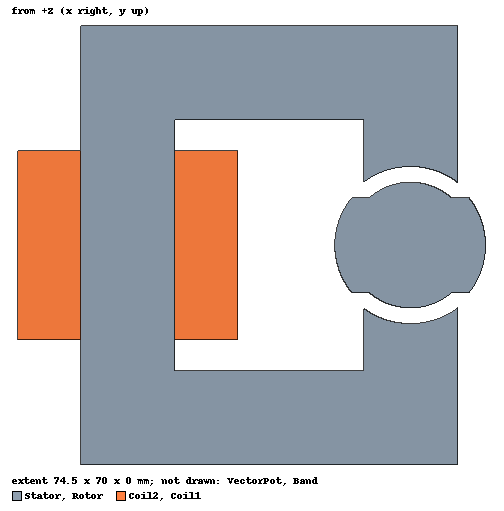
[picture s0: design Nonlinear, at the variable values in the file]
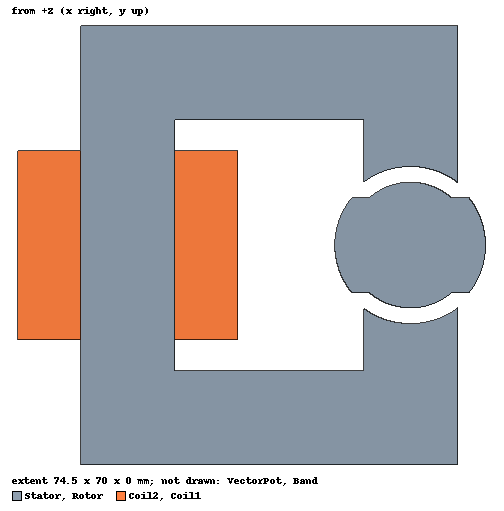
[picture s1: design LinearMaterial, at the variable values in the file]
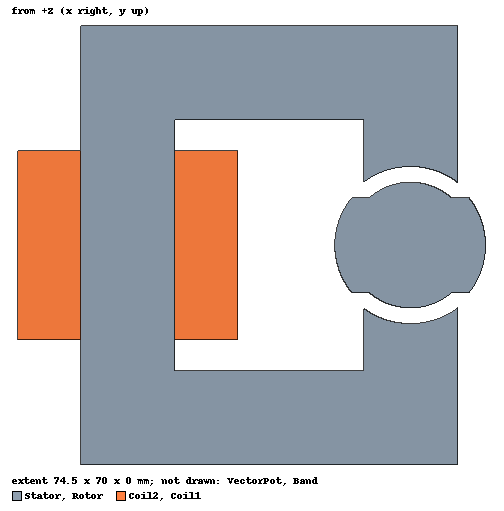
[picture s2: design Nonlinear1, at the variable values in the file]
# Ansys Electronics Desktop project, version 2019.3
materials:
  vacuum: permittivity=1
  copper: permeability=0.999991 conductivity=58000000
  m270-35a: permeability{HUnit=A_per_meter BUnit=tesla curve (0, 0) (30, 0.1) (39.6, 0.2) (46, 0.3) (52, 0.4) (58.2, 0.5) (65.2, 0.6) (73.3, 0.7) (83.1, 0.8) (95.5, 0.9) (112, 1) (136, 1.1) (178, 1.2) (272, 1.3) (596, 1.4) (1700, 1.5) (3880, 1.6) (7160, 1.7) (11600, 1.8)} conductivity=1/52*1e8
  m270-35a-lin: permeability=5000 conductivity=1/52*1e8

design Nonlinear (Maxwell 2D, Transient, XY geometry, model units mm)
options: ComputeTransientInductance ModelDepth=20mm Multiplier=1
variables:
  t_stop = 3s
  t_step = t_stop/600
  angle = 90deg
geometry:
  Stator [m270-35a] = rectangle(corner=(0mm, 0mm, 0mm), x_size=60mm, y_size=70mm)
  Rectangle2 = rectangle(corner=(15mm, 15mm, 0mm), x_size=30mm, y_size=40mm)
  Stator.subtract(Rectangle2)
  point Point1 = (52.5mm, 35mm, 0mm)
  Circle1 = circle(normal=Z, centre=(52.5mm, 35mm, 0mm), radius=12.5mm)
  Stator.subtract(Circle1)
  Circle2 = circle(normal=Z, centre=(52.5mm, 35mm, 0mm), radius=12mm)
  Rectangle3 = rectangle(corner=(45mm, 50mm, 0mm), x_size=15mm, y_size=-31.25mm)
  Circle2.intersect(Rectangle3)
  Rotor [m270-35a] = circle(normal=Z, centre=(52.5mm, 35mm, 0mm), radius=10mm)
  Rotor.unite(Circle2)
  Coil1 [copper] = rectangle(corner=(0mm, 20mm, 0mm), x_size=-10mm, y_size=30mm)
  Coil2 [copper] = Coil1.duplicate_mirror(point=(0mm, 20mm, 0mm), normal=(1mm, 0mm, 0mm))
  Coil2.move(15mm, 0mm, 0mm)
  VectorPot [vacuum] = circle(normal=Z, centre=(30mm, 35mm, 0mm), radius=67.082039mm)
  coordinate_system RelativeCS1 = origin=(52.5mm, 35mm, 0mm) x=(1mm, 0mm, 0mm) y=(0mm, 1mm, 0mm)
  Rotor.rotate(axis=Z, angle=angle) in RelativeCS1
  Band [vacuum] = circle(normal=Z, centre=(0mm, 0mm, 0mm), radius=12.206556mm) in RelativeCS1
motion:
  MotionSetup1: Band Move_Type=Rotate Coordinate_System=RelativeCS1 Axis=Z Is_Positive=true InitPos=angle-45deg Angular_Velocity=0rpm Moment_of_Inertia=0.0001 Damping=0 Load_Torque=0NewtonMeter Objects=Band
  Moving1: Moving Objects=Rotor
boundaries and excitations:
  VectorPotential1: Vector Potential Edges=VectorPot.edge(1 of 1) Value=0
  Rectangle4: Coil Objects=Coil1 Conductor_number=250 Winding=Winding1 PolarityType=Positive
  Rectangle4_1: Coil Objects=Coil2 Conductor_number=250 Winding=Winding1 PolarityType=Negative
  Winding1: Winding Group Type=Current IsSolid=false Current=3A ParallelBranchesNum=1
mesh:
  Length1: LengthBased Objects=[Coil1, Coil2, Rotor, Stator] MaxLength=3mm
  SurfApprox1: SurfApproxBased Objects=[Coil1, Stator, Coil2, Rotor] CurvedSurfaceApproxChoice=UseSlider SliderMeshSettings=9
  initial mesh: MeshMethod=AnsoftTAU
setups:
  Setup1: Transient NonlinearSolverResidual=1e-07 StopTime=t_stop TimeStep=t_step SaveFieldsType="Every N Steps" N_Steps=1 Steps_From=0s Steps_To=t_stop NumberSolveSteps=1 RangeStart=0s RangeEnd=0.1s InitialTimeStep=0.002s MinTimeStep=0.001s MaxTimeStep=0.003s TimeStepErrTolerance=0.0001
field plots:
  Mesh1: MeshPlots over Stator, Rotor, Coil1, Coil2, VectorPot on Setup1 : Transient at Time=55000000ns
  Mag_B1: B over Stator, Rotor, Coil1, Coil2, VectorPot on Setup1 : Transient at Time=55000000ns
  B_Vector1: B over Stator, Rotor, Coil1, Coil2, VectorPot on Setup1 : Transient at Time=140000000ns
  Flux_Lines1: A over Stator, Rotor, Coil1, Coil2, VectorPot, Band on Setup1 : Transient at Time=140000000ns
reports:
  Torque Plot 1: Moving1.Torque vs Time on Setup1 : Transient [t_stop=all]
  Winding Plot 1: L(Winding1,Winding1) vs Time on Setup1 : Transient
  Speed Plot 1: Moving1.Speed vs Time on Setup1 : Transient

design LinearMaterial (Maxwell 2D, Transient, XY geometry, model units mm)
options: ComputeTransientInductance ModelDepth=20mm Multiplier=1
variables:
  t_stop = 3s
  t_step = t_stop/600
  angle = 90deg
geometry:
  Stator [m270-35a-lin] = rectangle(corner=(0mm, 0mm, 0mm), x_size=60mm, y_size=70mm)
  Rectangle2 = rectangle(corner=(15mm, 15mm, 0mm), x_size=30mm, y_size=40mm)
  Stator.subtract(Rectangle2)
  point Point1 = (52.5mm, 35mm, 0mm)
  Circle1 = circle(normal=Z, centre=(52.5mm, 35mm, 0mm), radius=12.5mm)
  Stator.subtract(Circle1)
  Circle2 = circle(normal=Z, centre=(52.5mm, 35mm, 0mm), radius=12mm)
  Rectangle3 = rectangle(corner=(45mm, 50mm, 0mm), x_size=15mm, y_size=-31.25mm)
  Circle2.intersect(Rectangle3)
  Rotor [m270-35a-lin] = circle(normal=Z, centre=(52.5mm, 35mm, 0mm), radius=10mm)
  Rotor.unite(Circle2)
  Coil1 [copper] = rectangle(corner=(0mm, 20mm, 0mm), x_size=-10mm, y_size=30mm)
  Coil2 [copper] = Coil1.duplicate_mirror(point=(0mm, 20mm, 0mm), normal=(1mm, 0mm, 0mm))
  Coil2.move(15mm, 0mm, 0mm)
  VectorPot [vacuum] = circle(normal=Z, centre=(30mm, 35mm, 0mm), radius=67.082039mm)
  coordinate_system RelativeCS1 = origin=(52.5mm, 35mm, 0mm) x=(1mm, 0mm, 0mm) y=(0mm, 1mm, 0mm)
  Rotor.rotate(axis=Z, angle=angle) in RelativeCS1
  Band [vacuum] = circle(normal=Z, centre=(0mm, 0mm, 0mm), radius=12.206556mm) in RelativeCS1
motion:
  MotionSetup1: Band Move_Type=Rotate Coordinate_System=RelativeCS1 Axis=Z Is_Positive=true InitPos=angle-45deg Angular_Velocity=0rpm Moment_of_Inertia=0.0001 Damping=0 Load_Torque=0NewtonMeter Objects=Band
  Moving1: Moving Objects=Rotor
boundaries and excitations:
  VectorPotential1: Vector Potential Edges=VectorPot.edge(1 of 1) Value=0
  Rectangle4: Coil Objects=Coil1 Conductor_number=250 Winding=Winding1 PolarityType=Positive
  Rectangle4_1: Coil Objects=Coil2 Conductor_number=250 Winding=Winding1 PolarityType=Negative
  Winding1: Winding Group Type=Current IsSolid=false Current=3A ParallelBranchesNum=1
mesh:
  Length1: LengthBased Objects=[Coil1, Coil2, Rotor, Stator] MaxLength=3mm
  SurfApprox1: SurfApproxBased Objects=[Coil1, Stator, Coil2, Rotor] CurvedSurfaceApproxChoice=UseSlider SliderMeshSettings=9
  initial mesh: MeshMethod=AnsoftTAU
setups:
  Setup1: Transient NonlinearSolverResidual=1e-07 StopTime=t_stop TimeStep=t_step SaveFieldsType="Every N Steps" N_Steps=1 Steps_From=0s Steps_To=t_stop NumberSolveSteps=1 RangeStart=0s RangeEnd=0.1s InitialTimeStep=0.002s MinTimeStep=0.001s MaxTimeStep=0.003s TimeStepErrTolerance=0.0001
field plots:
  Mesh1: MeshPlots over Stator, Rotor, Coil1, Coil2, VectorPot on Setup1 : Transient at Time=-1
  Mag_B1: B over Stator, Rotor, Coil1, Coil2, VectorPot, Band on Setup1 : Transient at Time=0.045s
  B_Vector1: B over Stator, Rotor, Coil1, Coil2, VectorPot on Setup1 : Transient at Time=-1
  Flux_Lines1: A over Stator, Rotor, Coil1, Coil2, VectorPot, Band on Setup1 : Transient at Time=-1
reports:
  Torque Plot 1: Moving1.Torque vs Time on Setup1 : Transient [t_stop=all]
  Winding Plot 1: L(Winding1,Winding1) vs Time on Setup1 : Transient
  Speed Plot 1: Moving1.Speed vs Time on Setup1 : Transient

design Nonlinear1 (Maxwell 2D, Transient, XY geometry, model units mm)
options: ComputeTransientInductance ModelDepth=20mm Multiplier=1
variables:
  t_stop = 3s
  t_step = t_stop/600
  angle = 90deg
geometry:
  Stator [m270-35a] = rectangle(corner=(0mm, 0mm, 0mm), x_size=60mm, y_size=70mm)
  Rectangle2 = rectangle(corner=(15mm, 15mm, 0mm), x_size=30mm, y_size=40mm)
  Stator.subtract(Rectangle2)
  point Point1 = (52.5mm, 35mm, 0mm)
  Circle1 = circle(normal=Z, centre=(52.5mm, 35mm, 0mm), radius=12.5mm)
  Stator.subtract(Circle1)
  Circle2 = circle(normal=Z, centre=(52.5mm, 35mm, 0mm), radius=12mm)
  Rectangle3 = rectangle(corner=(45mm, 50mm, 0mm), x_size=15mm, y_size=-31.25mm)
  Circle2.intersect(Rectangle3)
  Rotor [m270-35a] = circle(normal=Z, centre=(52.5mm, 35mm, 0mm), radius=10mm)
  Rotor.unite(Circle2)
  Coil1 [copper] = rectangle(corner=(0mm, 20mm, 0mm), x_size=-10mm, y_size=30mm)
  Coil2 [copper] = Coil1.duplicate_mirror(point=(0mm, 20mm, 0mm), normal=(1mm, 0mm, 0mm))
  Coil2.move(15mm, 0mm, 0mm)
  VectorPot [vacuum] = circle(normal=Z, centre=(30mm, 35mm, 0mm), radius=67.082039mm)
  coordinate_system RelativeCS1 = origin=(52.5mm, 35mm, 0mm) x=(1mm, 0mm, 0mm) y=(0mm, 1mm, 0mm)
  Rotor.rotate(axis=Z, angle=angle) in RelativeCS1
  Band [vacuum] = circle(normal=Z, centre=(0mm, 0mm, 0mm), radius=12.206556mm) in RelativeCS1
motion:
  MotionSetup1: Band Move_Type=Rotate Coordinate_System=RelativeCS1 Axis=Z Is_Positive=true InitPos=angle-45deg Angular_Velocity=0rpm Moment_of_Inertia=0.0001 Damping=0 Load_Torque=0NewtonMeter Objects=Band
  Moving1: Moving Objects=Rotor
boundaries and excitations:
  VectorPotential1: Vector Potential Edges=VectorPot.edge(1 of 1) Value=0
  Rectangle4: Coil Objects=Coil1 Conductor_number=250 Winding=Winding1 PolarityType=Positive
  Rectangle4_1: Coil Objects=Coil2 Conductor_number=250 Winding=Winding1 PolarityType=Negative
  Winding1: Winding Group Type=Current IsSolid=false Current=3A ParallelBranchesNum=1
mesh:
  Length1: LengthBased Objects=[Coil1, Coil2, Rotor, Stator] MaxLength=3mm
  SurfApprox1: SurfApproxBased Objects=[Coil1, Stator, Coil2, Rotor] CurvedSurfaceApproxChoice=UseSlider SliderMeshSettings=9
  initial mesh: MeshMethod=AnsoftTAU
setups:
  Setup1: Transient NonlinearSolverResidual=1e-07 StopTime=t_stop TimeStep=t_step SaveFieldsType="Every N Steps" N_Steps=1 Steps_From=0s Steps_To=t_stop NumberSolveSteps=1 RangeStart=0s RangeEnd=0.1s InitialTimeStep=0.002s MinTimeStep=0.001s MaxTimeStep=0.003s TimeStepErrTolerance=0.0001
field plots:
  Mesh1: MeshPlots over Stator, Rotor, Coil1, Coil2, VectorPot on Setup1 : Transient at Time=55000000ns
  Mag_B1: B over Stator, Rotor, Coil1, Coil2, VectorPot on Setup1 : Transient at Time=55000000ns
  B_Vector1: B over Stator, Rotor, Coil1, Coil2, VectorPot on Setup1 : Transient at Time=140000000ns
  Flux_Lines1: A over Stator, Rotor, Coil1, Coil2, VectorPot, Band on Setup1 : Transient at Time=140000000ns
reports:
  Torque Plot 1: Moving1.Torque vs Time on Setup1 : Transient [t_stop=all]
  Winding Plot 1: L(Winding1,Winding1) vs Time on Setup1 : Transient
  Speed Plot 1: Moving1.Speed vs Time on Setup1 : Transient
